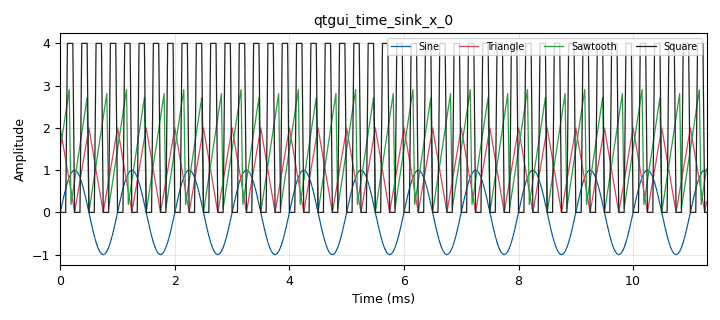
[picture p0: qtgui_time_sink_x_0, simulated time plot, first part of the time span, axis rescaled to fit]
options:
  parameters:
    author: chris
    generate_options: qt_gui
    id: lab0_2
    output_language: python
    title: Not titled yet
  states: {}

blocks:
- name: samp_rate
  id: variable
  parameters:
    value: '32000'
  states: {}
- name: analog_sig_source_x_0
  id: analog_sig_source_x
  parameters:
    amp: '1'
    freq: '1000'
    offset: '0'
    phase: '0'
    samp_rate: samp_rate
    type: float
    waveform: analog.GR_SIN_WAVE
  states: {}
- name: analog_sig_source_x_1
  id: analog_sig_source_x
  parameters:
    amp: '2'
    freq: '2000'
    offset: '0'
    phase: '0'
    samp_rate: samp_rate
    type: float
    waveform: analog.GR_TRI_WAVE
  states: {}
- name: analog_sig_source_x_1_0
  id: analog_sig_source_x
  parameters:
    amp: '3'
    freq: '3000'
    offset: '0'
    phase: '0'
    samp_rate: samp_rate
    type: float
    waveform: analog.GR_SAW_WAVE
  states: {}
- name: analog_sig_source_x_1_0_0
  id: analog_sig_source_x
  parameters:
    amp: '4'
    freq: '4000'
    offset: '0'
    phase: '0'
    samp_rate: samp_rate
    type: float
    waveform: analog.GR_SQR_WAVE
  states: {}
- name: blocks_throttle_0
  id: blocks_throttle
  parameters:
    samples_per_second: samp_rate
    type: float
  states: {}
- name: blocks_throttle_0_0
  id: blocks_throttle
  parameters:
    samples_per_second: samp_rate
    type: float
  states: {}
- name: blocks_throttle_0_1
  id: blocks_throttle
  parameters:
    samples_per_second: samp_rate
    type: float
  states: {}
- name: blocks_throttle_0_1_0
  id: blocks_throttle
  parameters:
    samples_per_second: samp_rate
    type: float
  states: {}
- name: qtgui_time_sink_x_0
  id: qtgui_time_sink_x
  parameters:
    label1: Sine
    label2: Triangle
    label3: Sawtooth
    label4: Square
    nconnections: '4'
    size: '1024'
    srate: samp_rate
    type: float
  states: {}

connections:
- [analog_sig_source_x_0, '0', blocks_throttle_0, '0']
- [analog_sig_source_x_1, '0', blocks_throttle_0_0, '0']
- [analog_sig_source_x_1_0, '0', blocks_throttle_0_1, '0']
- [analog_sig_source_x_1_0_0, '0', blocks_throttle_0_1_0, '0']
- [blocks_throttle_0, '0', qtgui_time_sink_x_0, '0']
- [blocks_throttle_0_0, '0', qtgui_time_sink_x_0, '1']
- [blocks_throttle_0_1, '0', qtgui_time_sink_x_0, '2']
- [blocks_throttle_0_1_0, '0', qtgui_time_sink_x_0, '3']

metadata:
  file_format: 1
  grc_version: 3.10.5.1
